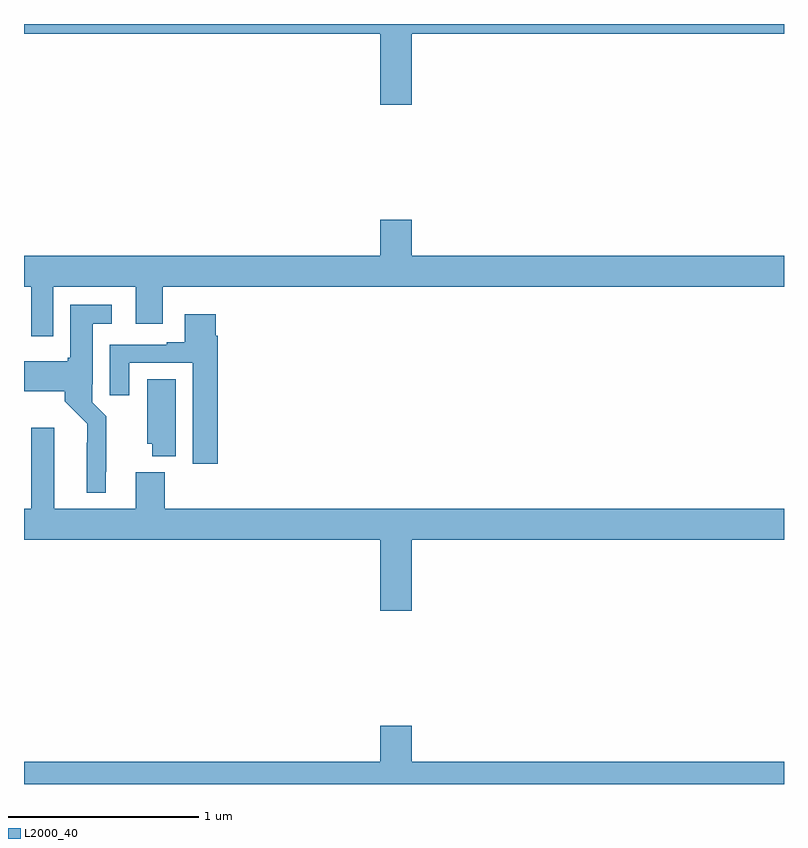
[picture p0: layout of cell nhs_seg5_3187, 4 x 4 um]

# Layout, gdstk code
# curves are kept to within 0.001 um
import gdstk
lib = gdstk.Library(unit=1e-6, precision=1e-09)
def P(c, l, *ps):  # polygons
    for p in ps: c.add(gdstk.Polygon(p, *l))
L2000_40 = (2000, 40)

nhs_seg5_3187 = lib.new_cell('nhs_seg5_3187')
P(nhs_seg5_3187, L2000_40, [(297.04,868.748),(299,868.748),(299,868.799),(295,868.799),(295,868.748),(296.876,868.748),(296.876,868.374),(297.04,868.374)],
  [(295.155,867.416),(295.589,867.416),(295.589,867.222),(295.729,867.222),(295.729,867.416),(299,867.416),(299,867.58),(297.04,867.58),(297.04,867.769),(296.876,867.769),(296.876,867.58),(295,867.58),(295,867.416),(295.039,867.416),(295.039,867.156),(295.155,867.156)],
  [(295.429,866.443),(295.433,866.443),(295.433,866.734),(295.359,866.808),(295.359,866.902),(295.363,866.902),(295.363,867.221),(295.462,867.221),(295.462,867.322),(295.244,867.322),(295.244,867.042),(295.23,867.042),(295.23,867.025),(295.002,867.025),(295.002,866.867),(295.214,866.867),(295.214,866.814),(295.332,866.696),(295.331,866.333),(295.429,866.333)],
  [(296.021,867.158),(296.008,867.158),(296.008,867.271),(295.847,867.271),(295.847,867.124),(295.751,867.124),(295.751,867.111),(295.451,867.111),(295.451,866.844),(295.555,866.844),(295.555,867.015),(295.889,867.015),(295.889,866.484),(296.021,866.484)],
  [(295.798,866.93),(295.649,866.93),(295.649,866.589),(295.676,866.589),(295.676,866.525),(295.798,866.525)],
  [(297.04,866.084),(299,866.084),(299,866.248),(295.742,866.248),(295.742,866.44),(295.589,866.44),(295.589,866.248),(295.159,866.248),(295.159,866.674),(295.037,866.674),(295.037,866.248),(295,866.248),(295,866.084),(296.876,866.084),(296.876,865.71),(297.04,865.71)],
  [(299,864.916),(297.04,864.916),(297.04,865.105),(296.876,865.105),(296.876,864.916),(295,864.916),(295,864.799),(299,864.799)])

lib.write_gds('nhs_seg5_3187.gds')
